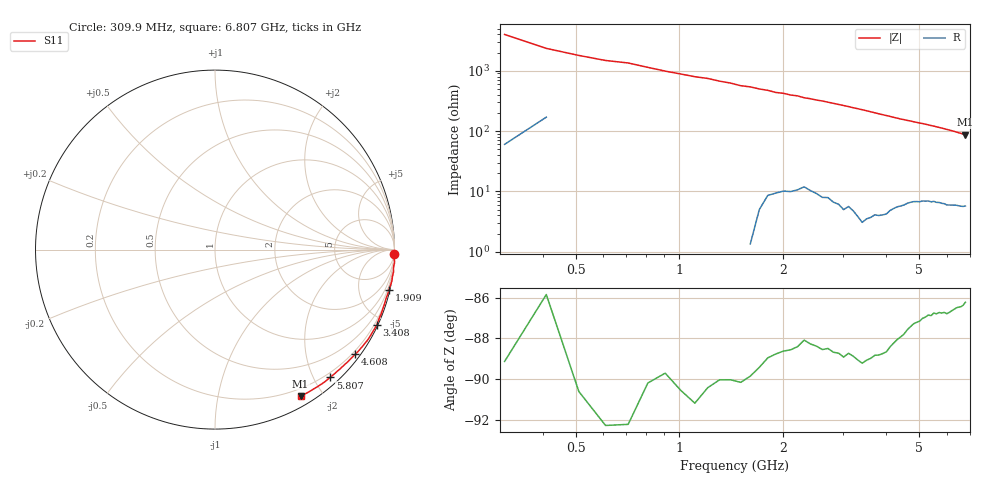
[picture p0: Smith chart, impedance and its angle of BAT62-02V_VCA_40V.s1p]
! Infineon Technologies  Discrete & RF Semiconductors
! BAT62-02V
! VCA = 40 V
! One-Port S-Parameters
# Hz  S  MA  R  50
!f  S11
!Hz  Mag  Ang
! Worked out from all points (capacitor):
!   66 points, 309.9 MHz to 6.807 GHz, reference 50 ohm
!   read as one part to ground: C = 166 fF near 309.9 MHz
!   lowest |Z| = 87.1 ohm at 6.807 GHz (marker M1)
!   S11 on the Smith chart (normalised r, x): 309.9 MHz: 1, -80; 1.909 GHz: 0.19, -8.72; 3.408 GHz: 0.06, -4.51; 4.608 GHz: 0.13, -3.00; 5.807 GHz: 0.13, -2.24; 6.807 GHz: 0.11, -1.74
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3.0985e8  0.9996 -1.4
4.098e8  0.9969 -2.4
5.0975e8  1.001 -3.2
6.097e8  1.003 -3.9
7.0965e8  1.003 -4.3
9.0955e8  0.9995 -5.8
1.10945e9  1.003 -7.2
1.2094e9  1.001 -7.7
1.4093e9  1 -9.2
1.50925e9  1 -10.1
1.6092e9  0.9995 -10.6
1.8091e9  0.9962 -12.1
1.90905e9  0.9951 -13.1
2.009e9  0.9944 -13.5
2.10895e9  0.9938 -14.4
2.2089e9  0.9929 -14.9
2.30885e9  0.9909 -16.0
2.8086e9  0.9923 -19.7
3.4083e9  0.9943 -25.0
3.6082e9  0.992 -26.9
4.008e9  0.988 -30.9
4.4078e9  0.9795 -35.0
4.6077e9  0.975 -36.8
5.2074e9  0.965 -42.0
5.8071e9  0.9587 -48.0
6.007e9  0.9578 -50.2
6.4068e9  0.9512 -54.7
6.8066e9  0.9446 -59.7
